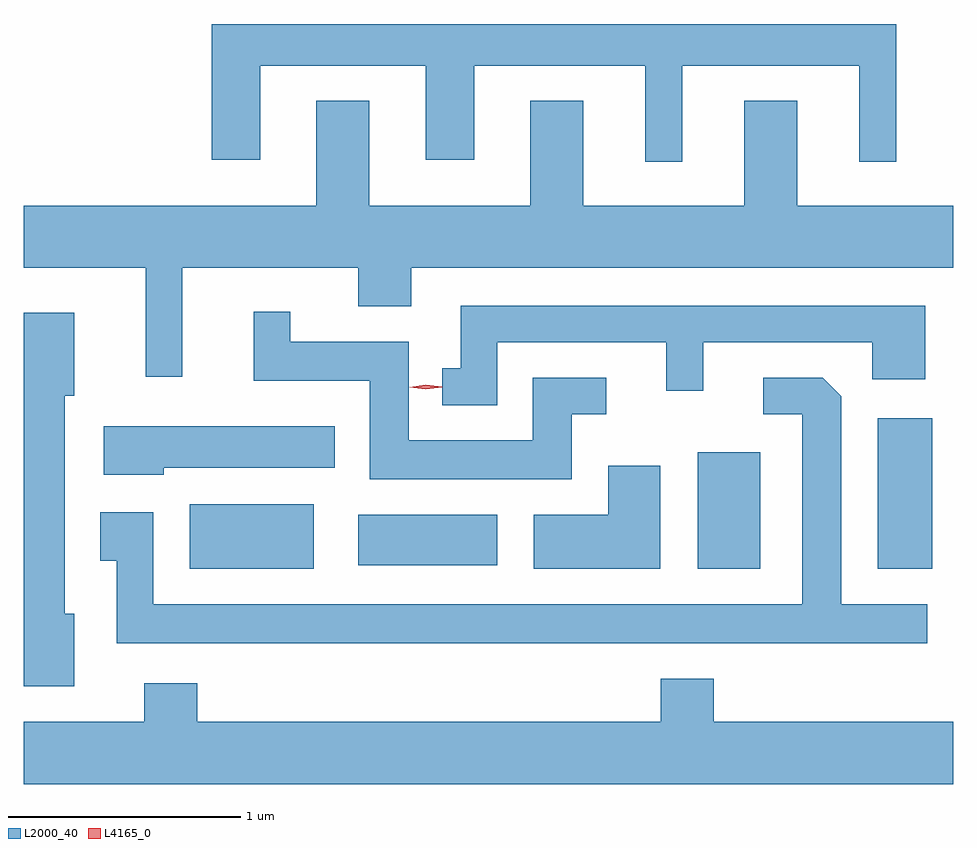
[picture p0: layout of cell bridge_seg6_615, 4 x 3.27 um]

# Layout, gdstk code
import gdstk
lib = gdstk.Library(unit=1e-6, precision=1e-09)
def R(c, l, rs):  # rectangles x0, y0, x1, y1
    for r in rs: c.add(gdstk.rectangle(r[:2], r[2:], *l))
def P(c, l, *ps):  # polygons
    for p in ps: c.add(gdstk.Polygon(p, *l))
L2000_40 = (2000, 40)
L4165_0 = (4165, 0)

bridge_seg6_615 = lib.new_cell('bridge_seg6_615')
R(bridge_seg6_615, L2000_40, [(318.496,1664.181,319.029,1664.459), (320.681,1664.181,320.949,1664.684), (321.456,1664.181,321.689,1664.829), (319.221,1664.196,319.819,1664.414)])
P(bridge_seg6_615, L2000_40, [(320.614,1666.346),(321.376,1666.346),(321.376,1665.933),(321.534,1665.933),(321.534,1666.525),(318.591,1666.525),(318.591,1665.941),(318.799,1665.941),(318.799,1666.346),(319.511,1666.346),(319.511,1665.941),(319.719,1665.941),(319.719,1666.346),(320.456,1666.346),(320.456,1665.933),(320.614,1665.933)],
  [(318.464,1665.476),(319.221,1665.476),(319.221,1665.311),(319.449,1665.311),(319.449,1665.476),(321.781,1665.476),(321.781,1665.744),(321.109,1665.744),(321.109,1666.194),(320.881,1666.194),(320.881,1665.744),(320.189,1665.744),(320.189,1666.194),(319.961,1666.194),(319.961,1665.744),(319.269,1665.744),(319.269,1666.194),(319.041,1666.194),(319.041,1665.744),(317.781,1665.744),(317.781,1665.476),(318.306,1665.476),(318.306,1665.008),(318.464,1665.008)],
  [(319.819,1665.156),(320.546,1665.156),(320.546,1664.948),(320.704,1664.948),(320.704,1665.156),(321.431,1665.156),(321.431,1664.996),(321.659,1664.996),(321.659,1665.314),(319.661,1665.314),(319.661,1665.044),(319.583,1665.044),(319.583,1664.886),(319.819,1664.886)],
  [(320.139,1664.846),(320.288,1664.846),(320.288,1665.004),(319.971,1665.004),(319.971,1664.734),(319.439,1664.734),(319.439,1665.159),(318.929,1665.159),(318.929,1665.288),(318.771,1665.288),(318.771,1664.991),(319.271,1664.991),(319.271,1664.566),(320.139,1664.566)],
  [(317.999,1663.989),(317.959,1663.989),(317.959,1664.926),(317.999,1664.926),(317.999,1665.284),(317.781,1665.284),(317.781,1663.676),(317.999,1663.676)],
  [(321.668,1664.029),(321.299,1664.029),(321.299,1664.924),(321.219,1665.004),(320.963,1665.004),(320.963,1664.846),(321.131,1664.846),(321.131,1664.029),(318.339,1664.029),(318.339,1664.424),(318.111,1664.424),(318.111,1664.216),(318.181,1664.216),(318.181,1663.861),(321.668,1663.861)],
  [(318.384,1664.616),(319.119,1664.616),(319.119,1664.794),(318.126,1664.794),(318.126,1664.586),(318.384,1664.586)],
  [(320.519,1664.624),(320.296,1664.624),(320.296,1664.414),(319.976,1664.414),(319.976,1664.181),(320.519,1664.181)],
  [(321.781,1663.524),(320.749,1663.524),(320.749,1663.709),(320.521,1663.709),(320.521,1663.524),(318.529,1663.524),(318.529,1663.689),(318.301,1663.689),(318.301,1663.524),(317.781,1663.524),(317.781,1663.256),(321.781,1663.256)])
P(bridge_seg6_615, L4165_0, [(319.512,1664.953),(319.442,1664.962),(319.442,1664.962),(319.442,1664.963),(319.512,1664.973),(319.581,1664.964),(319.581,1664.963),(319.581,1664.963)])

lib.write_gds('bridge_seg6_615.gds')
